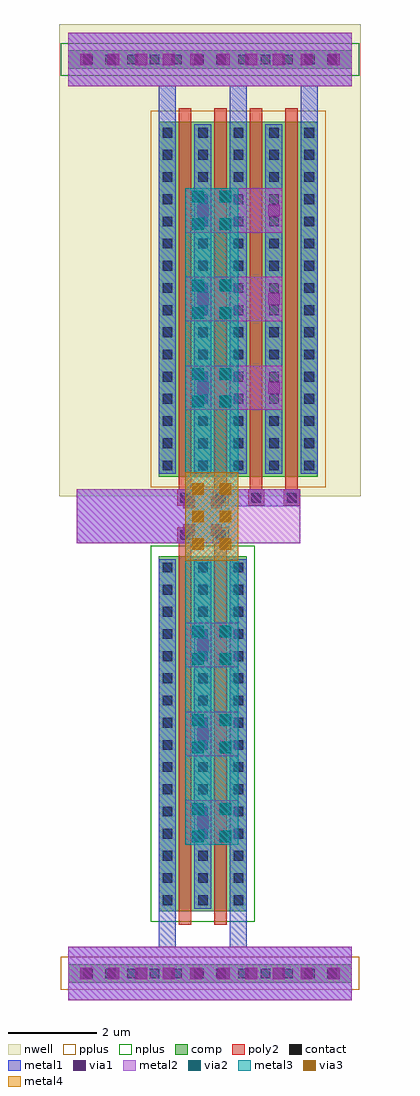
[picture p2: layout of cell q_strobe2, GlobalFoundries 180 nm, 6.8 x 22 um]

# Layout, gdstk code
import gdstk
lib = gdstk.Library(unit=1e-6, precision=1e-09)
def R(c, l, rs):  # rectangles x0, y0, x1, y1
    for r in rs: c.add(gdstk.rectangle(r[:2], r[2:], *l))
def A(c, l, x, y, w, h, nx, ny, dx, dy):  # array of equal rectangles
    R(c, l, [(x+i*dx, y+j*dy, x+i*dx+w, y+j*dy+h) for i in range(nx) for j in range(ny)])
nwell = (21, 0)
comp = (22, 0)
poly2 = (30, 0)
pplus = (31, 0)
nplus = (32, 0)
contact = (33, 0)
metal1 = (34, 0)
via1 = (35, 0)
metal2 = (36, 0)
via2 = (38, 0)
via3 = (40, 0)
metal3 = (42, 0)
metal4 = (46, 0)

q_strobe2 = lib.new_cell('q_strobe2')
R(q_strobe2, nwell, [(-0.2,11.35,6.6,22)])
R(q_strobe2, comp, [(0,0.39,6.4,0.81), (2.05,2,4.03,10), (2.05,11.8,5.63,19.8), (0,20.99,6.4,21.41)])
A(q_strobe2, poly2, 2.46, 11.14, 0.36, 0.36, 4, 1, 0.8, 0)
A(q_strobe2, poly2, 2.5, 11.14, 0.28, 8.96, 4, 1, 0.8, 0)
R(q_strobe2, poly2, [(2.5,1.7,2.78,10.66), (3.3,1.7,3.58,10.66), (2.46,10.3,2.82,10.66), (3.26,10.3,3.62,10.66)])
R(q_strobe2, pplus, [(-0.16,0.23,6.56,0.97), (1.87,11.56,5.81,20.04)])
R(q_strobe2, nplus, [(1.87,1.76,4.21,10.24), (-0.16,20.83,6.56,21.57)])
A(q_strobe2, contact, 0.34, 0.49, 0.22, 0.22, 12, 2, 0.5, 20.6)
A(q_strobe2, contact, 2.13, 2.14, 0.22, 0.22, 3, 16, 0.8, 0.5)
A(q_strobe2, contact, 2.53, 11.21, 0.22, 0.22, 4, 1, 0.8, 0)
A(q_strobe2, contact, 2.13, 11.94, 0.22, 0.22, 5, 16, 0.8, 0.5)
R(q_strobe2, contact, [(2.53,10.37,2.75,10.59), (3.33,10.37,3.55,10.59)])
A(q_strobe2, metal1, 2.05, 11.86, 0.38, 9.34, 3, 1, 1.6, 0)
R(q_strobe2, metal1, [(0,0,6.4,1.2), (0.2,0.1,6.2,1.1), (0,0.39,6.4,0.81), (2.05,0.6,2.43,9.94), (3.65,0.6,4.03,9.94), (2.85,2.06,3.23,9.94), (0.2,10.29,3.63,11.51), (2.45,10.29,3.63,10.67), (2.45,10.29,3.63,11.51), (2.45,11.13,5.23,11.51), (2.85,11.86,3.23,19.74), (4.45,11.86,4.83,19.74), (0,20.6,6.4,21.8), (0.2,20.7,6.2,21.7), (0,20.99,6.4,21.41)])
A(q_strobe2, via1, 0.28, 0.47, 0.26, 0.26, 10, 2, 0.62, 20.6)
A(q_strobe2, via1, 2.91, 3.87, 0.26, 0.26, 1, 3, 0, 2)
A(q_strobe2, via1, 2.91, 13.67, 0.26, 0.26, 1, 3, 0, 2)
A(q_strobe2, via1, 4.51, 13.67, 0.26, 0.26, 1, 3, 0, 2)
R(q_strobe2, via1, [(2.6,10.46,2.86,10.72), (3.22,10.46,3.48,10.72), (2.6,11.08,2.86,11.34), (3.22,11.08,3.48,11.34)])
A(q_strobe2, metal2, 2.64, 3.5, 1.2, 1, 1, 3, 0, 2)
A(q_strobe2, metal2, 2.85, 3.5, 0.38, 1, 1, 3, 0, 2)
A(q_strobe2, metal2, 2.64, 13.3, 1.2, 1, 1, 3, 0, 2)
A(q_strobe2, metal2, 2.85, 13.3, 1.98, 1, 1, 3, 0, 2)
R(q_strobe2, metal2, [(0,0,6.4,1.2), (0.2,0.1,6.2,1.1), (0.2,10.29,5.23,11.51), (2.45,10.29,3.63,11.51), (0,20.6,6.4,21.8), (0.2,20.7,6.2,21.7)])
R(q_strobe2, via2, [(2.8,3.56,3.06,3.82), (3.42,3.56,3.68,3.82), (2.8,4.18,3.06,4.44), (3.42,4.18,3.68,4.44), (2.8,5.56,3.06,5.82), (3.42,5.56,3.68,5.82), (2.8,6.18,3.06,6.44), (3.42,6.18,3.68,6.44), (2.8,7.56,3.06,7.82), (3.42,7.56,3.68,7.82), (2.8,8.18,3.06,8.44), (3.42,8.18,3.68,8.44), (2.8,13.36,3.06,13.62), (3.42,13.36,3.68,13.62), (2.8,13.98,3.06,14.24), (3.42,13.98,3.68,14.24), (2.8,15.36,3.06,15.62), (3.42,15.36,3.68,15.62), (2.8,15.98,3.06,16.24), (3.42,15.98,3.68,16.24), (2.8,17.36,3.06,17.62), (3.42,17.36,3.68,17.62), (2.8,17.98,3.06,18.24), (3.42,17.98,3.68,18.24)])
A(q_strobe2, via3, 2.8, 10.15, 0.26, 0.26, 1, 3, 0, 0.62)
A(q_strobe2, via3, 3.42, 10.15, 0.26, 0.26, 1, 3, 0, 0.62)
A(q_strobe2, metal3, 2.64, 3.5, 1.2, 1, 1, 3, 0, 2)
A(q_strobe2, metal3, 2.64, 13.3, 1.2, 1, 1, 3, 0, 2)
R(q_strobe2, metal3, [(2.64,3.5,3.84,18.3), (2.64,9.9,3.84,11.9)])
R(q_strobe2, metal4, [(2.64,9.9,3.84,11.9), (2.64,9.9,3.84,11.9)])

lib.write_gds('q_strobe2.gds')
